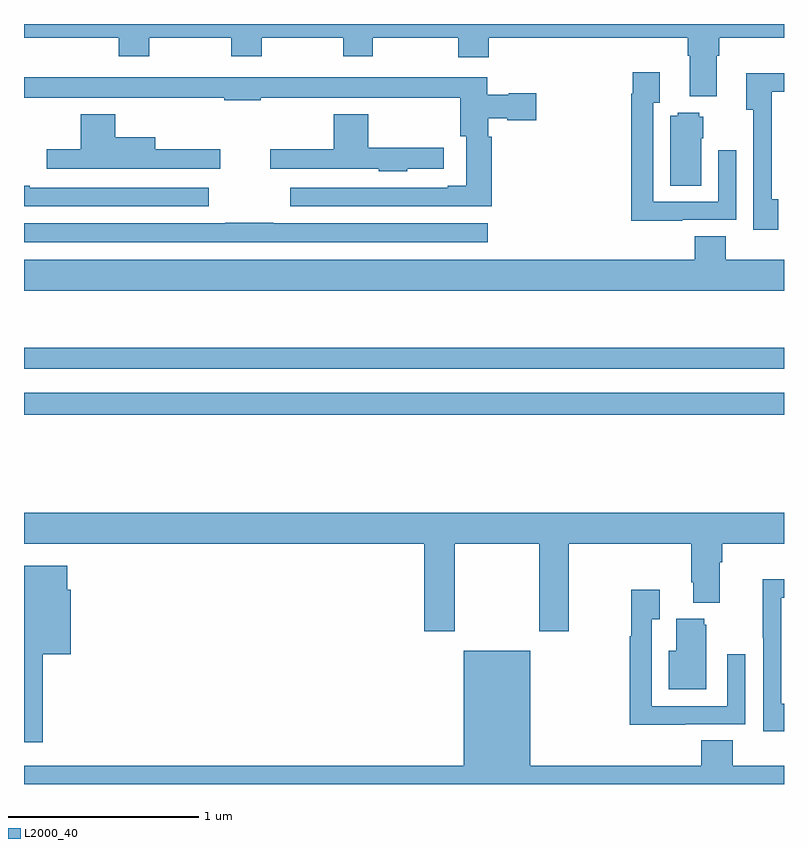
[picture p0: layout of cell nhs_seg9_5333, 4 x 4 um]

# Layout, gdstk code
import gdstk
lib = gdstk.Library(unit=1e-6, precision=1e-09)
def R(c, l, rs):  # rectangles x0, y0, x1, y1
    for r in rs: c.add(gdstk.rectangle(r[:2], r[2:], *l))
def P(c, l, *ps):  # polygons
    for p in ps: c.add(gdstk.Polygon(p, *l))
L2000_40 = (2000, 40)

nhs_seg9_5333 = lib.new_cell('nhs_seg9_5333')
R(nhs_seg9_5333, L2000_40, [(421,1186.444,425,1186.56), (421,1186.686,425,1186.795)])
P(nhs_seg9_5333, L2000_40, [(424.645,1188.332),(424.658,1188.332),(424.658,1188.428),(425,1188.428),(425,1188.5),(421,1188.5),(421,1188.428),(421.499,1188.428),(421.499,1188.329),(421.659,1188.329),(421.659,1188.428),(422.092,1188.428),(422.092,1188.329),(422.25,1188.329),(422.25,1188.428),(422.68,1188.428),(422.68,1188.329),(422.835,1188.329),(422.835,1188.428),(423.286,1188.428),(423.286,1188.326),(423.446,1188.326),(423.446,1188.428),(424.493,1188.428),(424.493,1188.332),(424.505,1188.332),(424.505,1188.119),(424.645,1188.119)],
  [(424.465,1187.469),(424.749,1187.469),(424.749,1187.836),(424.653,1187.836),(424.653,1187.565),(424.311,1187.565),(424.311,1188.086),(424.345,1188.086),(424.345,1188.247),(424.203,1188.247),(424.203,1188.134),(424.195,1188.134),(424.195,1187.465),(424.465,1187.465)],
  [(424.969,1187.578),(424.935,1187.578),(424.935,1188.144),(425,1188.144),(425,1188.242),(424.802,1188.242),(424.802,1188.05),(424.839,1188.05),(424.839,1187.418),(424.969,1187.418)],
  [(423.461,1187.907),(423.443,1187.907),(423.443,1188.005),(423.544,1188.005),(423.544,1187.993),(423.697,1187.993),(423.697,1188.135),(423.552,1188.135),(423.552,1188.127),(423.437,1188.127),(423.437,1188.22),(421,1188.22),(421,1188.113),(422.055,1188.113),(422.055,1188.098),(422.246,1188.098),(422.246,1188.113),(423.296,1188.113),(423.296,1187.909),(423.327,1187.909),(423.327,1187.65),(423.23,1187.65),(423.23,1187.637),(422.4,1187.637),(422.4,1187.541),(423.461,1187.541)],
  [(424.564,1187.898),(424.576,1187.898),(424.576,1188.012),(424.554,1188.012),(424.554,1188.034),(424.44,1188.034),(424.44,1188.016),(424.4,1188.016),(424.4,1187.65),(424.564,1187.65)],
  [(423.018,1187.738),(423.208,1187.738),(423.208,1187.848),(422.813,1187.848),(422.813,1188.025),(422.63,1188.025),(422.63,1187.84),(422.295,1187.84),(422.295,1187.739),(422.868,1187.739),(422.868,1187.726),(423.018,1187.726)],
  [(422.032,1187.842),(421.69,1187.842),(421.69,1187.905),(421.481,1187.905),(421.481,1188.025),(421.298,1188.025),(421.298,1187.842),(421.119,1187.842),(421.119,1187.738),(422.032,1187.738)],
  [(421.972,1187.637),(421.031,1187.637),(421.031,1187.65),(421,1187.65),(421,1187.541),(421.972,1187.541)],
  [(423.442,1187.452),(422.312,1187.452),(422.312,1187.455),(422.059,1187.455),(422.059,1187.452),(421,1187.452),(421,1187.351),(423.442,1187.351)],
  [(425,1187.26),(424.694,1187.26),(424.694,1187.384),(424.529,1187.384),(424.529,1187.26),(421,1187.26),(421,1187.096),(425,1187.096)],
  [(423.267,1185.764),(423.712,1185.764),(423.712,1185.303),(423.867,1185.303),(423.867,1185.764),(424.511,1185.764),(424.511,1185.562),(424.523,1185.562),(424.523,1185.455),(424.663,1185.455),(424.663,1185.668),(424.676,1185.668),(424.676,1185.764),(425,1185.764),(425,1185.928),(421,1185.928),(421,1185.764),(423.107,1185.764),(423.107,1185.303),(423.267,1185.303)],
  [(421.099,1185.182),(421.246,1185.182),(421.246,1185.522),(421.228,1185.522),(421.228,1185.649),(421,1185.649),(421,1184.721),(421.099,1184.721)],
  [(425,1184.922),(424.986,1184.922),(424.986,1185.48),(425,1185.48),(425,1185.578),(424.888,1185.578),(424.888,1185.271),(424.89,1185.271),(424.89,1184.778),(425,1184.778)],
  [(424.481,1184.814),(424.797,1184.814),(424.797,1185.184),(424.701,1185.184),(424.701,1184.91),(424.305,1184.91),(424.305,1185.367),(424.345,1185.367),(424.345,1185.523),(424.197,1185.523),(424.197,1185.278),(424.189,1185.278),(424.189,1184.813),(424.481,1184.813)],
  [(424.591,1185.339),(424.58,1185.339),(424.58,1185.37),(424.433,1185.37),(424.433,1185.202),(424.394,1185.202),(424.394,1184.999),(424.591,1184.999)],
  [(425,1184.596),(424.73,1184.596),(424.73,1184.729),(424.565,1184.729),(424.565,1184.596),(423.664,1184.596),(423.664,1185.202),(423.314,1185.202),(423.314,1184.596),(421,1184.596),(421,1184.5),(425,1184.5)])

lib.write_gds('nhs_seg9_5333.gds')
